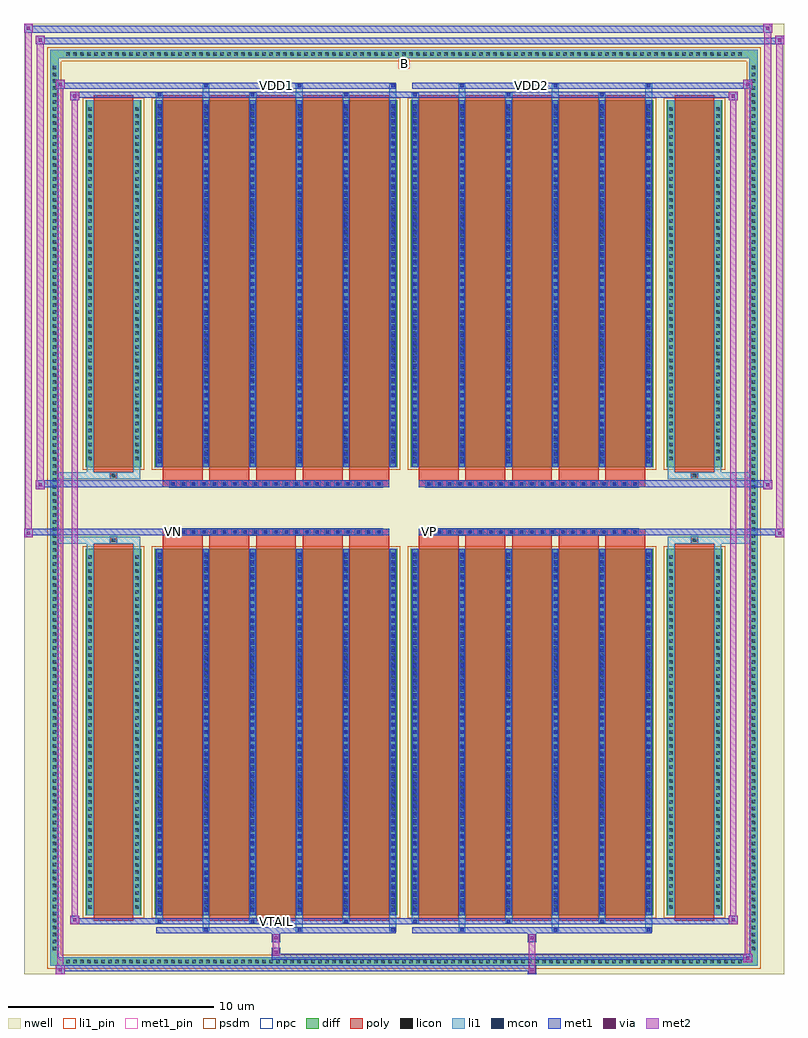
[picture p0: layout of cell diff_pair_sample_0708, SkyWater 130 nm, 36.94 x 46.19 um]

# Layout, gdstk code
import gdstk
lib = gdstk.Library(unit=1e-6, precision=5e-09)
def R(c, l, rs):  # rectangles x0, y0, x1, y1
    for r in rs: c.add(gdstk.rectangle(r[:2], r[2:], *l))
def A(c, l, x, y, w, h, nx, ny, dx, dy):  # array of equal rectangles
    R(c, l, [(x+i*dx, y+j*dy, x+i*dx+w, y+j*dy+h) for i in range(nx) for j in range(ny)])
def P(c, l, *ps):  # polygons
    for p in ps: c.add(gdstk.Polygon(p, *l))
nwell = (64, 20)
diff = (65, 20)
poly = (66, 20)
licon = (66, 44)
li1_pin = (67, 16)
li1 = (67, 20)
mcon = (67, 44)
met1_pin = (68, 16)
met1 = (68, 20)
via = (68, 44)
met2 = (69, 20)
psdm = (94, 20)
npc = (95, 20)

diff_pair_sample_0708 = lib.new_cell('diff_pair_sample_0708')
R(diff_pair_sample_0708, nwell, [(-18.47,-22.66,18.47,23.53), (-15.79,-20.85,-0.01,-0.805), (0.01,-20.85,15.79,-0.805), (-15.79,0.805,-0.01,20.85), (0.01,0.805,15.79,20.85)])
A(diff_pair_sample_0708, diff, -16.525, -22.26, 0.41, 0.41, 97, 2, 0.34, 44.11)
A(diff_pair_sample_0708, diff, -17.2, -21.625, 0.41, 0.41, 1, 127, 0, 0.34)
A(diff_pair_sample_0708, diff, 16.79, -21.625, 0.41, 0.41, 1, 127, 0, 0.34)
R(diff_pair_sample_0708, diff, [(-16.525,-22.26,16.525,-21.85), (-17.2,-21.625,-16.79,21.625), (16.79,-21.625,17.2,21.625), (-15.48,-19.805,-12.76,-1.985), (-12.12,-19.805,-0.32,-1.985), (0.32,-19.805,12.12,-1.985), (12.76,-19.805,15.48,-1.985), (-15.48,1.985,-12.76,19.805), (-12.12,1.985,-0.32,19.805), (0.32,1.985,12.12,19.805), (12.76,1.985,15.48,19.805), (-16.525,21.85,16.525,22.26)])
P(diff_pair_sample_0708, diff, [(17.2,22.26),(-17.2,22.26),(-17.2,-21.85),(-16.79,-21.85),(-16.79,21.85),(16.79,21.85),(16.79,-21.85),(-16.79,-21.85),(-17.2,-21.85),(-17.2,-22.26),(17.2,-22.26)])
A(diff_pair_sample_0708, poly, -11.73, -20.055, 1.94, 18.32, 5, 2, 2.27, 21.79)
A(diff_pair_sample_0708, poly, 0.71, -20.055, 1.94, 18.32, 5, 2, 2.27, 21.79)
A(diff_pair_sample_0708, poly, -11.73, -1.735, 1.94, 0.4, 5, 2, 2.27, 3.07)
A(diff_pair_sample_0708, poly, 0.71, -1.735, 1.94, 0.4, 5, 2, 2.27, 3.07)
A(diff_pair_sample_0708, poly, -11.385, -1.335, 0.33, 0.33, 21, 2, 0.5, 2.34)
A(diff_pair_sample_0708, poly, 1.055, -1.335, 0.33, 0.33, 21, 2, 0.5, 2.34)
R(diff_pair_sample_0708, poly, [(-15.09,-20.055,-13.15,-1.735), (13.15,-20.055,15.09,-1.735), (-14.285,-1.735,-13.955,-1.405), (-14.285,-1.735,-13.955,-1.405), (13.955,-1.735,14.285,-1.405), (13.955,-1.735,14.285,-1.405), (-11.73,-1.335,-0.71,-1.005), (0.71,-1.335,11.73,-1.005), (-11.73,1.005,-0.71,1.335), (0.71,1.005,11.73,1.335), (-14.285,1.405,-13.955,1.735), (-14.285,1.405,-13.955,1.735), (13.955,1.405,14.285,1.735), (13.955,1.405,14.285,1.735), (-15.09,1.735,-13.15,20.055), (13.15,1.735,15.09,20.055)])
A(diff_pair_sample_0708, licon, -16.405, -22.14, 0.17, 0.17, 97, 2, 0.34, 44.11)
A(diff_pair_sample_0708, licon, -17.08, -21.505, 0.17, 0.17, 1, 127, 0, 0.34)
A(diff_pair_sample_0708, licon, 16.91, -21.505, 0.17, 0.17, 1, 127, 0, 0.34)
A(diff_pair_sample_0708, licon, -15.34, -19.48, 0.17, 0.17, 1, 51, 0, 0.34)
A(diff_pair_sample_0708, licon, -13.07, -19.48, 0.17, 0.17, 1, 51, 0, 0.34)
A(diff_pair_sample_0708, licon, -11.98, -19.48, 0.17, 0.17, 6, 51, 2.27, 0.34)
A(diff_pair_sample_0708, licon, 0.46, -19.48, 0.17, 0.17, 6, 51, 2.27, 0.34)
A(diff_pair_sample_0708, licon, 12.9, -19.48, 0.17, 0.17, 1, 51, 0, 0.34)
A(diff_pair_sample_0708, licon, 15.17, -19.48, 0.17, 0.17, 1, 51, 0, 0.34)
A(diff_pair_sample_0708, licon, -11.305, -1.255, 0.17, 0.17, 21, 2, 0.5, 2.34)
A(diff_pair_sample_0708, licon, 1.135, -1.255, 0.17, 0.17, 21, 2, 0.5, 2.34)
A(diff_pair_sample_0708, licon, -15.34, 2.31, 0.17, 0.17, 1, 51, 0, 0.34)
A(diff_pair_sample_0708, licon, -13.07, 2.31, 0.17, 0.17, 1, 51, 0, 0.34)
A(diff_pair_sample_0708, licon, -11.98, 2.31, 0.17, 0.17, 6, 51, 2.27, 0.34)
A(diff_pair_sample_0708, licon, 0.46, 2.31, 0.17, 0.17, 6, 51, 2.27, 0.34)
A(diff_pair_sample_0708, licon, 12.9, 2.31, 0.17, 0.17, 1, 51, 0, 0.34)
A(diff_pair_sample_0708, licon, 15.17, 2.31, 0.17, 0.17, 1, 51, 0, 0.34)
R(diff_pair_sample_0708, licon, [(-14.205,-1.655,-14.035,-1.485), (14.035,-1.655,14.205,-1.485), (-14.205,1.485,-14.035,1.655), (14.035,1.485,14.205,1.655)])
R(diff_pair_sample_0708, li1_pin, [(-0.25,21.35,0.25,21.85)])
A(diff_pair_sample_0708, li1, -16.485, -22.22, 0.33, 0.33, 97, 2, 0.34, 44.11)
A(diff_pair_sample_0708, li1, -17.16, -21.585, 0.33, 0.33, 1, 127, 0, 0.34)
A(diff_pair_sample_0708, li1, 16.83, -21.585, 0.33, 0.33, 1, 127, 0, 0.34)
A(diff_pair_sample_0708, li1, -9.79, -20.61, 0.33, 0.805, 3, 2, 4.54, 40.415)
A(diff_pair_sample_0708, li1, -9.71, -20.61, 0.17, 0.17, 3, 2, 4.54, 41.05)
A(diff_pair_sample_0708, li1, 2.65, -20.61, 0.33, 0.805, 3, 2, 4.54, 40.415)
A(diff_pair_sample_0708, li1, 2.73, -20.61, 0.17, 0.17, 3, 2, 4.54, 41.05)
A(diff_pair_sample_0708, li1, -12.06, -20.18, 0.33, 0.375, 3, 2, 4.54, 39.985)
A(diff_pair_sample_0708, li1, -11.98, -20.18, 0.17, 0.17, 3, 2, 4.54, 40.19)
A(diff_pair_sample_0708, li1, 0.38, -20.18, 0.33, 0.375, 3, 2, 4.54, 39.985)
A(diff_pair_sample_0708, li1, 0.46, -20.18, 0.17, 0.17, 3, 2, 4.54, 40.19)
A(diff_pair_sample_0708, li1, -12.06, -19.805, 0.33, 17.82, 6, 2, 2.27, 21.79)
A(diff_pair_sample_0708, li1, 0.38, -19.805, 0.33, 17.82, 6, 2, 2.27, 21.79)
A(diff_pair_sample_0708, li1, -11.98, -19.62, 0.17, 0.17, 6, 49, 2.27, 0.36)
A(diff_pair_sample_0708, li1, -11.98, -19.62, 0.17, 17.45, 6, 2, 2.27, 21.79)
A(diff_pair_sample_0708, li1, 0.46, -19.62, 0.17, 0.17, 6, 49, 2.27, 0.36)
A(diff_pair_sample_0708, li1, 0.46, -19.62, 0.17, 17.45, 6, 2, 2.27, 21.79)
A(diff_pair_sample_0708, li1, -15.42, -19.56, 0.33, 0.33, 1, 51, 0, 0.34)
A(diff_pair_sample_0708, li1, -13.15, -19.56, 0.33, 0.33, 1, 51, 0, 0.34)
A(diff_pair_sample_0708, li1, -12.06, -19.56, 0.33, 0.33, 6, 51, 2.27, 0.34)
A(diff_pair_sample_0708, li1, 0.38, -19.56, 0.33, 0.33, 6, 51, 2.27, 0.34)
A(diff_pair_sample_0708, li1, 12.82, -19.56, 0.33, 0.33, 1, 51, 0, 0.34)
A(diff_pair_sample_0708, li1, 15.09, -19.56, 0.33, 0.33, 1, 51, 0, 0.34)
A(diff_pair_sample_0708, li1, -11.385, -1.335, 0.33, 0.33, 21, 2, 0.5, 2.34)
A(diff_pair_sample_0708, li1, 1.055, -1.335, 0.33, 0.33, 21, 2, 0.5, 2.34)
A(diff_pair_sample_0708, li1, -11.98, 2.17, 0.17, 0.17, 6, 49, 2.27, 0.36)
A(diff_pair_sample_0708, li1, 0.46, 2.17, 0.17, 0.17, 6, 49, 2.27, 0.36)
A(diff_pair_sample_0708, li1, -15.42, 2.23, 0.33, 0.33, 1, 51, 0, 0.34)
A(diff_pair_sample_0708, li1, -13.15, 2.23, 0.33, 0.33, 1, 51, 0, 0.34)
A(diff_pair_sample_0708, li1, -12.06, 2.23, 0.33, 0.33, 6, 51, 2.27, 0.34)
A(diff_pair_sample_0708, li1, 0.38, 2.23, 0.33, 0.33, 6, 51, 2.27, 0.34)
A(diff_pair_sample_0708, li1, 12.82, 2.23, 0.33, 0.33, 1, 51, 0, 0.34)
A(diff_pair_sample_0708, li1, 15.09, 2.23, 0.33, 0.33, 1, 51, 0, 0.34)
R(diff_pair_sample_0708, li1, [(-17.2,-22.26,-16.79,-21.85), (-17.2,-22.26,-16.79,-21.85), (-16.79,-22.26,16.79,-21.85), (16.79,-22.26,17.2,-21.85), (16.79,-22.26,17.2,-21.85), (-17.2,-21.85,-16.79,21.85), (16.79,-21.85,17.2,21.85), (-15.42,-19.805,-15.09,-1.985), (-13.15,-19.805,-12.82,-1.985), (12.82,-19.805,13.15,-1.985), (15.09,-19.805,15.42,-1.985), (-15.42,-1.985,-15.09,-1.405), (-13.15,-1.985,-12.82,-1.405), (12.82,-1.985,13.15,-1.405), (15.09,-1.985,15.42,-1.405), (-17.2,-1.735,-14.285,-1.405), (-15.42,-1.735,-14.285,-1.405), (-14.285,-1.735,-13.955,-1.405), (-13.955,-1.735,-12.82,-1.405), (12.82,-1.735,13.955,-1.405), (13.955,-1.735,14.285,-1.405), (13.955,-1.735,17.2,-1.405), (14.285,-1.735,15.42,-1.405), (-17.2,1.405,-14.285,1.735), (-15.42,1.405,-14.285,1.735), (-15.42,1.405,-15.09,1.985), (-14.285,1.405,-13.955,1.735), (-13.955,1.405,-12.82,1.735), (-13.15,1.405,-12.82,1.985), (12.82,1.405,13.955,1.735), (12.82,1.405,13.15,1.985), (13.955,1.405,14.285,1.735), (13.955,1.405,17.2,1.735), (14.285,1.405,15.42,1.735), (15.09,1.405,15.42,1.985), (-15.42,1.985,-15.09,19.805), (-13.15,1.985,-12.82,19.805), (12.82,1.985,13.15,19.805), (15.09,1.985,15.42,19.805), (-17.2,21.85,-16.79,22.26), (-17.2,21.85,-16.79,22.26), (-16.79,21.85,16.79,22.26), (16.79,21.85,17.2,22.26), (16.79,21.85,17.2,22.26)])
A(diff_pair_sample_0708, mcon, -9.71, -20.61, 0.17, 0.17, 3, 2, 4.54, 41.05)
A(diff_pair_sample_0708, mcon, 2.73, -20.61, 0.17, 0.17, 3, 2, 4.54, 41.05)
A(diff_pair_sample_0708, mcon, -11.98, -20.18, 0.17, 0.17, 3, 2, 4.54, 40.19)
A(diff_pair_sample_0708, mcon, 0.46, -20.18, 0.17, 0.17, 3, 2, 4.54, 40.19)
A(diff_pair_sample_0708, mcon, -11.98, -19.62, 0.17, 0.17, 6, 49, 2.27, 0.36)
A(diff_pair_sample_0708, mcon, 0.46, -19.62, 0.17, 0.17, 6, 49, 2.27, 0.36)
A(diff_pair_sample_0708, mcon, -11.305, -1.255, 0.17, 0.17, 21, 2, 0.5, 2.34)
A(diff_pair_sample_0708, mcon, 1.135, -1.255, 0.17, 0.17, 21, 2, 0.5, 2.34)
A(diff_pair_sample_0708, mcon, -11.98, 2.17, 0.17, 0.17, 6, 49, 2.27, 0.36)
A(diff_pair_sample_0708, mcon, 0.46, 2.17, 0.17, 0.17, 6, 49, 2.27, 0.36)
R(diff_pair_sample_0708, met1_pin, [(-6.355,-20.22,-6.085,-19.95), (-11.355,-1.295,-11.085,-1.025), (1.085,-1.295,1.355,-1.025), (-6.355,20.4,-6.085,20.67), (6.085,20.4,6.355,20.67)])
A(diff_pair_sample_0708, met1, -9.77, -20.67, 0.29, 0.29, 3, 2, 4.54, 41.05)
A(diff_pair_sample_0708, met1, 2.67, -20.67, 0.29, 0.29, 3, 2, 4.54, 41.05)
A(diff_pair_sample_0708, met1, -12.04, -20.24, 0.29, 0.29, 3, 2, 4.54, 40.19)
A(diff_pair_sample_0708, met1, 0.4, -20.24, 0.29, 0.29, 3, 2, 4.54, 40.19)
A(diff_pair_sample_0708, met1, -12.04, -19.805, 0.29, 17.82, 6, 2, 2.27, 21.79)
A(diff_pair_sample_0708, met1, 0.4, -19.805, 0.29, 17.82, 6, 2, 2.27, 21.79)
A(diff_pair_sample_0708, met1, -12.04, -19.68, 0.29, 0.29, 6, 49, 2.27, 0.36)
A(diff_pair_sample_0708, met1, 0.4, -19.68, 0.29, 0.29, 6, 49, 2.27, 0.36)
A(diff_pair_sample_0708, met1, -11.365, -1.315, 0.29, 0.29, 21, 2, 0.5, 2.34)
A(diff_pair_sample_0708, met1, 1.075, -1.315, 0.29, 0.29, 21, 2, 0.5, 2.34)
A(diff_pair_sample_0708, met1, -12.04, 2.11, 0.29, 0.29, 6, 49, 2.27, 0.36)
A(diff_pair_sample_0708, met1, 0.4, 2.11, 0.29, 0.29, 6, 49, 2.27, 0.36)
R(diff_pair_sample_0708, met1, [(-16.93,-22.66,-16.5,-22.23), (6.005,-22.66,6.435,-22.23), (-16.93,-22.52,6.435,-22.23), (16.5,-22.09,16.93,-21.66), (-6.435,-21.95,16.93,-21.66), (-6.435,-21.81,-6.005,-21.38), (-6.435,-21.1,-6.005,-20.67), (6.005,-21.1,6.435,-20.67), (-12.04,-20.67,-0.4,-20.38), (0.4,-20.67,12.04,-20.38), (-16.22,-20.24,-15.79,-19.81), (-16.22,-20.24,-12.04,-19.95), (-12.04,-20.24,-0.4,-19.95), (-0.4,-20.24,0.4,-19.95), (0.4,-20.24,12.04,-19.95), (12.04,-20.24,16.22,-19.95), (15.79,-20.24,16.22,-19.81), (-18.47,-1.435,-18.04,-1.005), (18.04,-1.435,18.47,-1.005), (-18.47,-1.335,-0.71,-1.005), (-11.73,-1.335,-0.71,-1.005), (0.71,-1.335,11.73,-1.005), (0.71,-1.335,18.47,-1.005), (-17.9,0.905,-17.47,1.335), (17.47,0.905,17.9,1.335), (-17.9,1.005,-11.73,1.335), (-11.73,1.005,-0.71,1.335), (0.71,1.005,11.73,1.335), (11.73,1.005,17.9,1.335), (-16.22,19.81,-15.79,20.24), (15.79,19.81,16.22,20.24), (-16.22,19.95,-12.04,20.24), (-12.04,19.95,-0.4,20.24), (-0.4,19.95,0.4,20.24), (0.4,19.95,12.04,20.24), (12.04,19.95,16.22,20.24), (-16.93,20.38,-16.5,20.81), (-16.93,20.38,-12.04,20.67), (-12.04,20.38,-0.4,20.67), (0.4,20.38,12.04,20.67), (12.04,20.38,16.93,20.67), (16.5,20.38,16.93,20.81), (-17.9,22.53,-17.47,22.96), (-17.9,22.53,-15.79,22.86), (-15.79,22.53,15.79,22.86), (15.79,22.53,18.47,22.86), (18.04,22.53,18.47,22.96), (-18.47,23.1,-18.04,23.53), (-18.47,23.1,-15.79,23.43), (-15.79,23.1,15.79,23.43), (15.79,23.1,17.9,23.43), (17.47,23.1,17.9,23.53)])
R(diff_pair_sample_0708, via, [(-16.79,-22.52,-16.64,-22.37), (6.145,-22.52,6.295,-22.37), (16.64,-21.95,16.79,-21.8), (-6.295,-21.67,-6.145,-21.52), (-6.295,-20.96,-6.145,-20.81), (6.145,-20.96,6.295,-20.81), (-16.08,-20.1,-15.93,-19.95), (15.93,-20.1,16.08,-19.95), (-18.33,-1.295,-18.18,-1.145), (18.18,-1.295,18.33,-1.145), (-17.76,1.045,-17.61,1.195), (17.61,1.045,17.76,1.195), (-16.08,19.95,-15.93,20.1), (15.93,19.95,16.08,20.1), (-16.79,20.52,-16.64,20.67), (16.64,20.52,16.79,20.67), (-17.76,22.67,-17.61,22.82), (18.18,22.67,18.33,22.82), (-18.33,23.24,-18.18,23.39), (17.61,23.24,17.76,23.39)])
R(diff_pair_sample_0708, met2, [(-16.93,-22.66,-16.5,-22.23), (-16.86,-22.66,-16.57,20.81), (-16.57,-22.66,-16.5,-22.23), (-16.88,-22.61,-16.55,-22.28), (6.055,-22.61,6.385,-22.28), (6.055,-22.28,6.385,-21.05), (16.5,-22.09,16.93,-21.66), (16.57,-22.09,16.86,20.81), (16.86,-22.09,16.93,-21.66), (16.55,-22.04,16.88,-21.71), (-6.385,-21.76,-6.055,-21.43), (-6.385,-21.43,-6.055,-21.05), (-6.385,-21.05,-6.055,-20.72), (6.055,-21.05,6.385,-20.72), (-16.22,-20.24,-15.79,-19.81), (-16.15,-20.24,-15.86,20.24), (-15.86,-20.24,-15.79,-19.81), (15.79,-20.24,16.22,-19.81), (15.86,-20.24,16.15,20.24), (16.15,-20.24,16.22,-19.81), (-16.17,-20.19,-15.84,-19.86), (15.84,-20.19,16.17,-19.86), (-18.47,-1.435,-18.04,-1.005), (-18.42,-1.435,-18.09,23.53), (-18.09,-1.435,-18.04,-1.005), (18.04,-1.435,18.47,-1.005), (18.09,-1.435,18.42,22.96), (18.42,-1.435,18.47,-1.005), (-18.42,-1.385,-18.09,-1.055), (18.09,-1.385,18.42,-1.055), (-17.9,0.905,-17.47,1.335), (-17.85,0.905,-17.52,22.96), (-17.52,0.905,-17.47,1.335), (17.47,0.905,17.9,1.335), (17.52,0.905,17.85,23.53), (17.85,0.905,17.9,1.335), (-17.85,0.955,-17.52,1.285), (17.52,0.955,17.85,1.285), (-16.22,19.81,-15.79,20.24), (-15.86,19.81,-15.79,20.24), (15.79,19.81,16.22,20.24), (16.15,19.81,16.22,20.24), (-16.17,19.86,-15.84,20.19), (15.84,19.86,16.17,20.19), (-16.93,20.38,-16.5,20.81), (-16.57,20.38,-16.5,20.81), (16.5,20.38,16.93,20.81), (16.86,20.38,16.93,20.81), (-16.88,20.43,-16.55,20.76), (16.55,20.43,16.88,20.76), (-17.9,22.53,-17.47,22.96), (-17.52,22.53,-17.47,22.96), (18.04,22.53,18.47,22.96), (18.42,22.53,18.47,22.96), (-17.85,22.58,-17.52,22.91), (18.09,22.58,18.42,22.91), (-18.47,23.1,-18.04,23.53), (-18.09,23.1,-18.04,23.53), (17.47,23.1,17.9,23.53), (17.85,23.1,17.9,23.53), (-18.42,23.15,-18.09,23.48), (17.52,23.15,17.85,23.48)])
R(diff_pair_sample_0708, psdm, [(-15.61,-19.935,-12.63,-1.855), (-12.25,-19.935,-0.19,-1.855), (0.19,-19.935,12.25,-1.855), (12.63,-19.935,15.61,-1.855), (-15.61,1.855,-12.63,19.935), (-12.25,1.855,-0.19,19.935), (0.19,1.855,12.25,19.935), (12.63,1.855,15.61,19.935)])
P(diff_pair_sample_0708, psdm, [(17.33,22.39),(-17.33,22.39),(-17.33,-21.72),(-16.66,-21.72),(-16.66,21.72),(16.66,21.72),(16.66,-21.72),(-16.66,-21.72),(-17.33,-21.72),(-17.33,-22.39),(17.33,-22.39)])
A(diff_pair_sample_0708, npc, -11.405, -1.355, 0.37, 0.37, 21, 2, 0.5, 2.34)
A(diff_pair_sample_0708, npc, 1.035, -1.355, 0.37, 0.37, 21, 2, 0.5, 2.34)
R(diff_pair_sample_0708, npc, [(-14.305,-1.755,-13.935,-1.385), (13.935,-1.755,14.305,-1.385), (-11.405,-1.355,-10.535,-0.985), (-11.405,-1.355,-10.535,-0.985), (-10.905,-1.355,-10.035,-0.985), (-10.905,-1.355,-10.035,-0.985), (-10.405,-1.355,-9.535,-0.985), (-10.405,-1.355,-9.535,-0.985), (-9.905,-1.355,-9.035,-0.985), (-9.905,-1.355,-9.035,-0.985), (-9.405,-1.355,-8.535,-0.985), (-9.405,-1.355,-8.535,-0.985), (-8.905,-1.355,-8.035,-0.985), (-8.905,-1.355,-8.035,-0.985), (-8.405,-1.355,-7.535,-0.985), (-8.405,-1.355,-7.535,-0.985), (-7.905,-1.355,-7.035,-0.985), (-7.905,-1.355,-7.035,-0.985), (-7.405,-1.355,-6.535,-0.985), (-7.405,-1.355,-6.535,-0.985), (-6.905,-1.355,-6.035,-0.985), (-6.905,-1.355,-6.035,-0.985), (-6.405,-1.355,-5.535,-0.985), (-6.405,-1.355,-5.535,-0.985), (-5.905,-1.355,-5.035,-0.985), (-5.905,-1.355,-5.035,-0.985), (-5.405,-1.355,-4.535,-0.985), (-5.405,-1.355,-4.535,-0.985), (-4.905,-1.355,-4.035,-0.985), (-4.905,-1.355,-4.035,-0.985), (-4.405,-1.355,-3.535,-0.985), (-4.405,-1.355,-3.535,-0.985), (-3.905,-1.355,-3.035,-0.985), (-3.905,-1.355,-3.035,-0.985), (-3.405,-1.355,-2.535,-0.985), (-3.405,-1.355,-2.535,-0.985), (-2.905,-1.355,-2.035,-0.985), (-2.905,-1.355,-2.035,-0.985), (-2.405,-1.355,-1.535,-0.985), (-2.405,-1.355,-1.535,-0.985), (-1.905,-1.355,-1.035,-0.985), (-1.905,-1.355,-1.035,-0.985), (1.035,-1.355,1.905,-0.985), (1.035,-1.355,1.905,-0.985), (1.535,-1.355,2.405,-0.985), (1.535,-1.355,2.405,-0.985), (2.035,-1.355,2.905,-0.985), (2.035,-1.355,2.905,-0.985), (2.535,-1.355,3.405,-0.985), (2.535,-1.355,3.405,-0.985), (3.035,-1.355,3.905,-0.985), (3.035,-1.355,3.905,-0.985), (3.535,-1.355,4.405,-0.985), (3.535,-1.355,4.405,-0.985), (4.035,-1.355,4.905,-0.985), (4.035,-1.355,4.905,-0.985), (4.535,-1.355,5.405,-0.985), (4.535,-1.355,5.405,-0.985), (5.035,-1.355,5.905,-0.985), (5.035,-1.355,5.905,-0.985), (5.535,-1.355,6.405,-0.985), (5.535,-1.355,6.405,-0.985), (6.035,-1.355,6.905,-0.985), (6.035,-1.355,6.905,-0.985), (6.535,-1.355,7.405,-0.985), (6.535,-1.355,7.405,-0.985), (7.035,-1.355,7.905,-0.985), (7.035,-1.355,7.905,-0.985), (7.535,-1.355,8.405,-0.985), (7.535,-1.355,8.405,-0.985), (8.035,-1.355,8.905,-0.985), (8.035,-1.355,8.905,-0.985), (8.535,-1.355,9.405,-0.985), (8.535,-1.355,9.405,-0.985), (9.035,-1.355,9.905,-0.985), (9.035,-1.355,9.905,-0.985), (9.535,-1.355,10.405,-0.985), (9.535,-1.355,10.405,-0.985), (10.035,-1.355,10.905,-0.985), (10.035,-1.355,10.905,-0.985), (10.535,-1.355,11.405,-0.985), (10.535,-1.355,11.405,-0.985), (-11.405,0.985,-10.535,1.355), (-11.405,0.985,-10.535,1.355), (-10.905,0.985,-10.035,1.355), (-10.905,0.985,-10.035,1.355), (-10.405,0.985,-9.535,1.355), (-10.405,0.985,-9.535,1.355), (-9.905,0.985,-9.035,1.355), (-9.905,0.985,-9.035,1.355), (-9.405,0.985,-8.535,1.355), (-9.405,0.985,-8.535,1.355), (-8.905,0.985,-8.035,1.355), (-8.905,0.985,-8.035,1.355), (-8.405,0.985,-7.535,1.355), (-8.405,0.985,-7.535,1.355), (-7.905,0.985,-7.035,1.355), (-7.905,0.985,-7.035,1.355), (-7.405,0.985,-6.535,1.355), (-7.405,0.985,-6.535,1.355), (-6.905,0.985,-6.035,1.355), (-6.905,0.985,-6.035,1.355), (-6.405,0.985,-5.535,1.355), (-6.405,0.985,-5.535,1.355), (-5.905,0.985,-5.035,1.355), (-5.905,0.985,-5.035,1.355), (-5.405,0.985,-4.535,1.355), (-5.405,0.985,-4.535,1.355), (-4.905,0.985,-4.035,1.355), (-4.905,0.985,-4.035,1.355), (-4.405,0.985,-3.535,1.355), (-4.405,0.985,-3.535,1.355), (-3.905,0.985,-3.035,1.355), (-3.905,0.985,-3.035,1.355), (-3.405,0.985,-2.535,1.355), (-3.405,0.985,-2.535,1.355), (-2.905,0.985,-2.035,1.355), (-2.905,0.985,-2.035,1.355), (-2.405,0.985,-1.535,1.355), (-2.405,0.985,-1.535,1.355), (-1.905,0.985,-1.035,1.355), (-1.905,0.985,-1.035,1.355), (1.035,0.985,1.905,1.355), (1.035,0.985,1.905,1.355), (1.535,0.985,2.405,1.355), (1.535,0.985,2.405,1.355), (2.035,0.985,2.905,1.355), (2.035,0.985,2.905,1.355), (2.535,0.985,3.405,1.355), (2.535,0.985,3.405,1.355), (3.035,0.985,3.905,1.355), (3.035,0.985,3.905,1.355), (3.535,0.985,4.405,1.355), (3.535,0.985,4.405,1.355), (4.035,0.985,4.905,1.355), (4.035,0.985,4.905,1.355), (4.535,0.985,5.405,1.355), (4.535,0.985,5.405,1.355), (5.035,0.985,5.905,1.355), (5.035,0.985,5.905,1.355), (5.535,0.985,6.405,1.355), (5.535,0.985,6.405,1.355), (6.035,0.985,6.905,1.355), (6.035,0.985,6.905,1.355), (6.535,0.985,7.405,1.355), (6.535,0.985,7.405,1.355), (7.035,0.985,7.905,1.355), (7.035,0.985,7.905,1.355), (7.535,0.985,8.405,1.355), (7.535,0.985,8.405,1.355), (8.035,0.985,8.905,1.355), (8.035,0.985,8.905,1.355), (8.535,0.985,9.405,1.355), (8.535,0.985,9.405,1.355), (9.035,0.985,9.905,1.355), (9.035,0.985,9.905,1.355), (9.535,0.985,10.405,1.355), (9.535,0.985,10.405,1.355), (10.035,0.985,10.905,1.355), (10.035,0.985,10.905,1.355), (10.535,0.985,11.405,1.355), (10.535,0.985,11.405,1.355), (-14.305,1.385,-13.935,1.755), (13.935,1.385,14.305,1.755)])
diff_pair_sample_0708.add(gdstk.Label('VTAIL', (-6.22,-20.085), layer=68, texttype=5))
diff_pair_sample_0708.add(gdstk.Label('VN', (-11.22,-1.16), layer=68, texttype=5))
diff_pair_sample_0708.add(gdstk.Label('VP', (1.22,-1.16), layer=68, texttype=5))
diff_pair_sample_0708.add(gdstk.Label('B', (0,21.6), layer=67, texttype=5))
diff_pair_sample_0708.add(gdstk.Label('VDD2', (6.22,20.535), layer=68, texttype=5))
diff_pair_sample_0708.add(gdstk.Label('VDD1', (-6.22,20.535), layer=68, texttype=5))

lib.write_gds('diff_pair_sample_0708.gds')
